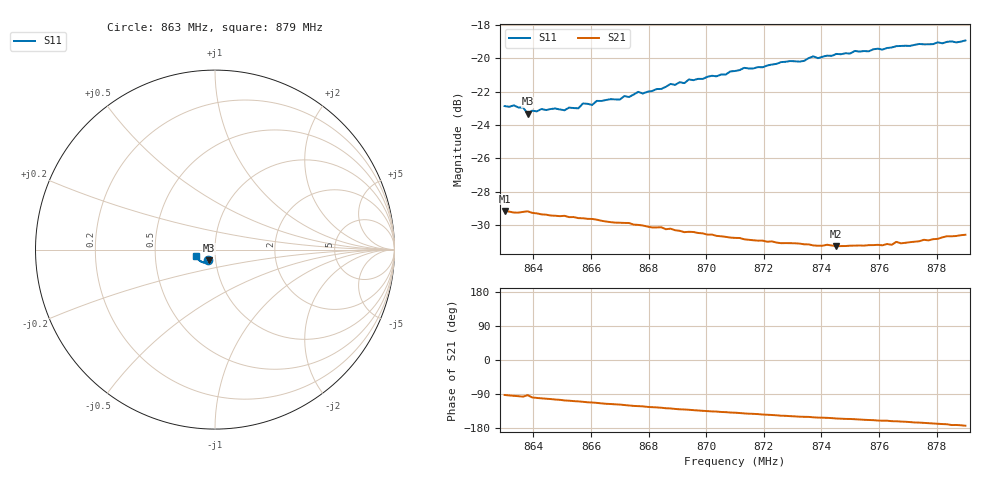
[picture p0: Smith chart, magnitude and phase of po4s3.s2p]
# HZ S RI R 50
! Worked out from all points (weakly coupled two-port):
!   101 points, 863 MHz to 879 MHz, reference 50 ohm
!   highest |S21| = -29.17 dB at 863 MHz (marker M1); lowest = -31.3 dB at 874.52 MHz (marker M2)
!   lowest |S11| = -23.3 dB at 863.8 MHz (marker M3), VSWR 1.15, Z = 46.6 - j5.63 ohm
!   |S11| at or under -10 dB: start of sweep to end of sweep
!   S12 and S22 are empty: the file has one direction only
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8.63e8  -0.0415 -0.0586  -0.0014 -0.0348  0 0  0 0
8.6364e8  -0.0405 -0.0585  -0.00405 -0.0343  0 0  0 0
8.638e8  -0.0322 -0.0602  -0.00174 -0.0347  0 0  0 0
8.6428e8  -0.0383 -0.0591  -0.00658 -0.0333  0 0  0 0
8.6556e8  -0.0359 -0.061  -0.0109 -0.0313  0 0  0 0
8.6572e8  -0.0364 -0.0634  -0.0115 -0.031  0 0  0 0
8.6604e8  -0.0353 -0.0632  -0.0124 -0.0305  0 0  0 0
8.662e8  -0.0372 -0.0645  -0.0129 -0.0301  0 0  0 0
8.67e8  -0.0375 -0.0651  -0.0148 -0.0284  0 0  0 0
8.6764e8  -0.0397 -0.0686  -0.0166 -0.0269  0 0  0 0
8.678e8  -0.0406 -0.067  -0.0168 -0.0266  0 0  0 0
8.6844e8  -0.0418 -0.0693  -0.0183 -0.0252  0 0  0 0
8.6876e8  -0.043 -0.0718  -0.0189 -0.0243  0 0  0 0
8.71e8  -0.0559 -0.0725  -0.0218 -0.0189  0 0  0 0
8.726e8  -0.0653 -0.0722  -0.0234 -0.0151  0 0  0 0
8.734e8  -0.0696 -0.0692  -0.0239 -0.0138  0 0  0 0
8.7372e8  -0.0734 -0.0698  -0.024 -0.0132  0 0  0 0
8.7388e8  -0.0735 -0.0678  -0.0242 -0.0128  0 0  0 0
8.7452e8  -0.0785 -0.0667  -0.0246 -0.0118  0 0  0 0
8.7644e8  -0.092 -0.056  -0.0261 -0.00878  0 0  0 0
8.766e8  -0.0934 -0.0556  -0.0267 -0.00884  0 0  0 0
8.79e8  -0.1075 -0.0351  -0.0293 -0.00339  0 0  0 0
